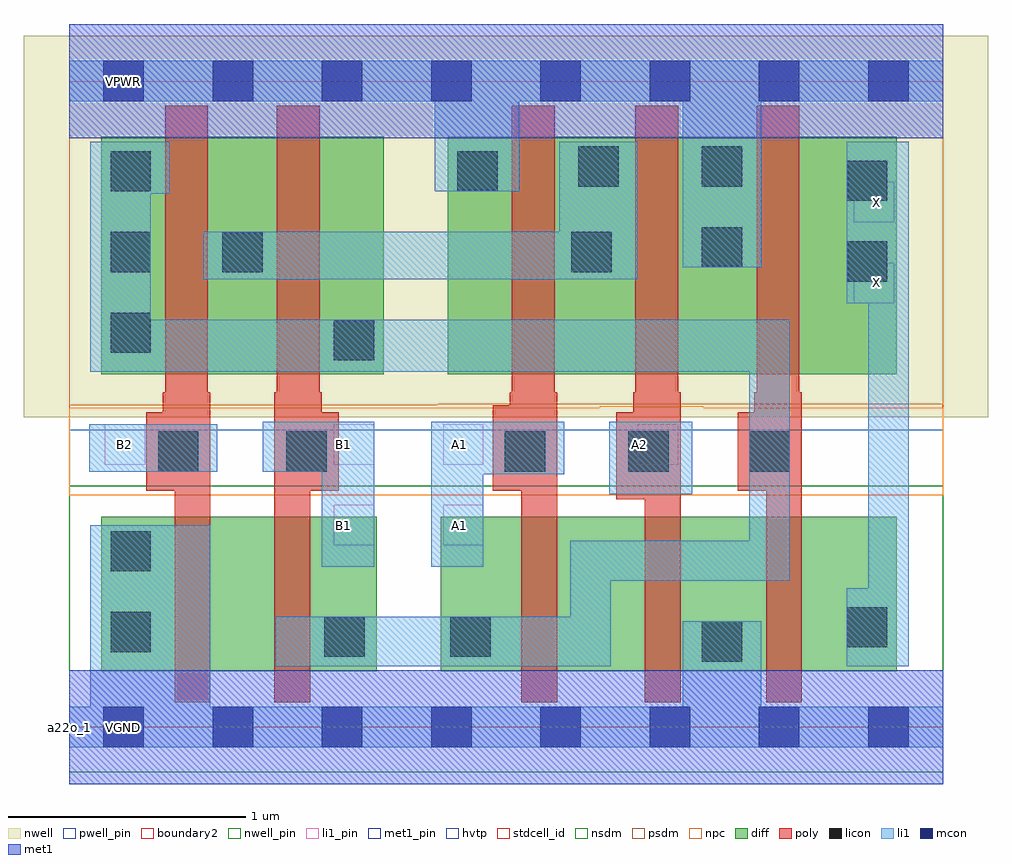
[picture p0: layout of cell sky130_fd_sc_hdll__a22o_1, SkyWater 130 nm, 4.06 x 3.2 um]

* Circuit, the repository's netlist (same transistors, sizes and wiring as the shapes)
* Copyright 2020 The SkyWater PDK Authors
*
* Licensed under the Apache License, Version 2.0 (the "License");
* you may not use this file except in compliance with the License.
* You may obtain a copy of the License at
*
*     https://www.apache.org/licenses/LICENSE-2.0
*
* Unless required by applicable law or agreed to in writing, software
* distributed under the License is distributed on an "AS IS" BASIS,
* WITHOUT WARRANTIES OR CONDITIONS OF ANY KIND, either express or implied.
* See the License for the specific language governing permissions and
* limitations under the License.
*
* SPDX-License-Identifier: Apache-2.0

.SUBCKT sky130_fd_sc_hdll__a22o_1 A1 A2 B1 B2 VGND VNB VPB VPWR X
*.PININFO A1:I A2:I B1:I B2:I VGND:I VNB:I VPB:I VPWR:I X:O
MMPA0 pndA A1 VPWR VPB sky130_fd_pr__pfet_01v8_hvt m=1 w=1.0U l=0.18U mult=1 sa=0.265
+ sb=0.265 sd=0.28 area=0.063 perim=1.14
MMPA1 pndA A2 VPWR VPB sky130_fd_pr__pfet_01v8_hvt m=1 w=1.0U l=0.18U mult=1 sa=0.265
+ sb=0.265 sd=0.28 area=0.063 perim=1.14
MMPB0 y B1 pndA VPB sky130_fd_pr__pfet_01v8_hvt m=1 w=1.0U l=0.18U mult=1 sa=0.265
+ sb=0.265 sd=0.28 area=0.063 perim=1.14
MMPB1 y B2 pndA VPB sky130_fd_pr__pfet_01v8_hvt m=1 w=1.0U l=0.18U mult=1 sa=0.265
+ sb=0.265 sd=0.28 area=0.063 perim=1.14
MMIPX X y VPWR VPB sky130_fd_pr__pfet_01v8_hvt m=1 w=1.0U l=0.18U mult=1 sa=0.265
+ sb=0.265 sd=0.28 area=0.063 perim=1.14
MMNA0 y A1 sndA1 VNB sky130_fd_pr__nfet_01v8 m=1 w=0.65U l=0.15U mult=1 sa=0.265
+ sb=0.265 sd=0.28 area=0.063 perim=1.14
MMNA1 sndA1 A2 VGND VNB sky130_fd_pr__nfet_01v8 m=1 w=0.65U l=0.15U mult=1 sa=0.265
+ sb=0.265 sd=0.28 area=0.063 perim=1.14
MMNB0 y B1 sndB1 VNB sky130_fd_pr__nfet_01v8 m=1 w=0.65U l=0.15U mult=1 sa=0.265
+ sb=0.265 sd=0.28 area=0.063 perim=1.14
MMNB1 sndB1 B2 VGND VNB sky130_fd_pr__nfet_01v8 m=1 w=0.65U l=0.15U mult=1 sa=0.265
+ sb=0.265 sd=0.28 area=0.063 perim=1.14
MMINX X y VGND VNB sky130_fd_pr__nfet_01v8 m=1 w=0.65U l=0.15U mult=1 sa=0.265
+ sb=0.265 sd=0.28 area=0.063 perim=1.14
.ENDS sky130_fd_sc_hdll__a22o_1

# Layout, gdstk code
import gdstk
lib = gdstk.Library(unit=1e-6, precision=1e-09)
def R(c, l, rs):  # rectangles x0, y0, x1, y1
    for r in rs: c.add(gdstk.rectangle(r[:2], r[2:], *l))
def A(c, l, x, y, w, h, nx, ny, dx, dy):  # array of equal rectangles
    R(c, l, [(x+i*dx, y+j*dy, x+i*dx+w, y+j*dy+h) for i in range(nx) for j in range(ny)])
def P(c, l, *ps):  # polygons
    for p in ps: c.add(gdstk.Polygon(p, *l))
nwell_pin = (64, 16)
nwell = (64, 20)
diff = (65, 20)
poly = (66, 20)
licon = (66, 44)
li1_pin = (67, 16)
li1 = (67, 20)
mcon = (67, 44)
met1_pin = (68, 16)
met1 = (68, 20)
hvtp = (78, 44)
stdcell_id = (81, 4)
nsdm = (93, 44)
psdm = (94, 20)
npc = (95, 20)
pwell_pin = (122, 16)
boundary2 = (236, 0)

sky130_fd_sc_hdll__a22o_ = lib.new_cell('sky130_fd_sc_hdll__a22o_1')
R(sky130_fd_sc_hdll__a22o_, nwell_pin, [(0.145,2.635,0.315,2.805)])
R(sky130_fd_sc_hdll__a22o_, nwell, [(-0.19,1.305,3.87,2.91)])
R(sky130_fd_sc_hdll__a22o_, diff, [(0.135,0.235,1.295,0.885), (1.565,0.235,3.485,0.885), (0.135,1.485,1.325,2.485), (1.595,1.485,3.485,2.485)])
P(sky130_fd_sc_hdll__a22o_, poly, [(0.595,1.41),(0.585,1.41),(0.585,2.615),(0.405,2.615),(0.405,1.41),(0.395,1.41),(0.395,1.325),(0.325,1.325),(0.325,0.995),(0.445,0.995),(0.445,0.105),(0.595,0.105)],
  [(1.135,1.325),(1.065,1.325),(1.065,1.41),(1.055,1.41),(1.055,2.615),(0.875,2.615),(0.875,1.41),(0.865,1.41),(0.865,0.105),(1.015,0.105),(1.015,0.995),(1.135,0.995)],
  [(2.055,1.41),(2.045,1.41),(2.045,2.615),(1.865,2.615),(1.865,1.41),(1.855,1.41),(1.855,1.355),(1.785,1.355),(1.785,0.995),(1.905,0.995),(1.905,0.105),(2.055,0.105)],
  [(2.575,1.41),(2.565,1.41),(2.565,2.615),(2.385,2.615),(2.385,1.41),(2.375,1.41),(2.375,1.325),(2.305,1.325),(2.305,0.96),(2.425,0.96),(2.425,0.105),(2.575,0.105)],
  [(3.085,1.41),(3.075,1.41),(3.075,2.615),(2.895,2.615),(2.895,1.41),(2.885,1.41),(2.885,1.325),(2.815,1.325),(2.815,0.995),(2.935,0.995),(2.935,0.105),(3.085,0.105)])
A(sky130_fd_sc_hdll__a22o_, licon, 0.175, 1.575, 0.17, 0.17, 1, 3, 0, 0.34)
R(sky130_fd_sc_hdll__a22o_, licon, [(2.665,0.275,2.835,0.445), (1.075,0.295,1.245,0.465), (1.605,0.295,1.775,0.465), (0.175,0.315,0.345,0.485), (3.275,0.335,3.445,0.505), (0.175,0.655,0.345,0.825), (0.375,1.075,0.545,1.245), (0.915,1.075,1.085,1.245), (1.835,1.075,2.005,1.245), (2.355,1.075,2.525,1.245), (2.865,1.075,3.035,1.245), (1.115,1.545,1.285,1.715), (3.275,1.875,3.445,2.045), (0.645,1.915,0.815,2.085), (2.115,1.915,2.285,2.085), (2.665,1.935,2.835,2.105), (3.275,2.215,3.445,2.385), (1.635,2.255,1.805,2.425), (2.145,2.275,2.315,2.445), (2.665,2.275,2.835,2.445)])
R(sky130_fd_sc_hdll__a22o_, li1_pin, [(1.115,0.765,1.285,0.935), (1.575,0.765,1.745,0.935), (0.15,1.105,0.32,1.275), (1.115,1.105,1.285,1.275), (1.575,1.105,1.745,1.275), (2.395,1.105,2.565,1.275), (3.305,1.785,3.475,1.955), (3.305,2.125,3.475,2.295)])
R(sky130_fd_sc_hdll__a22o_, li1, [(2.275,0.98,2.625,1.285), (0.085,1.075,0.625,1.275)])
P(sky130_fd_sc_hdll__a22o_, li1, [(1.285,1.285),(0.815,1.285),(0.815,1.075),(1.065,1.075),(1.065,0.675),(1.285,0.675)],
  [(2.085,1.285),(1.525,1.285),(1.525,0.675),(1.745,0.675),(1.745,1.065),(2.085,1.065)],
  [(2.395,2.465),(2.065,2.465),(2.065,2.085),(0.565,2.085),(0.565,1.885),(2.395,1.885)],
  [(3.035,1.715),(0.345,1.715),(0.345,2.245),(0.425,2.245),(0.425,2.465),(0.09,2.465),(0.09,1.495),(2.865,1.495),(2.865,0.785),(2.11,0.785),(2.11,0.465),(0.87,0.465),(0.87,0.255),(2.28,0.255),(2.28,0.615),(3.035,0.615)],
  [(3.535,2.465),(3.275,2.465),(3.275,1.785),(3.365,1.785),(3.365,0.585),(3.275,0.585),(3.275,0.255),(3.535,0.255)],
  [(3.68,2.805),(0,2.805),(0,2.635),(1.54,2.635),(1.54,2.255),(1.895,2.255),(1.895,2.635),(2.585,2.635),(2.585,1.935),(2.915,1.935),(2.915,2.635),(3.68,2.635)],
  [(3.68,0.085),(2.915,0.085),(2.915,0.445),(2.585,0.445),(2.585,0.085),(0.595,0.085),(0.595,0.85),(0.09,0.85),(0.09,0.085),(0,0.085),(0,-0.085),(3.68,-0.085)])
A(sky130_fd_sc_hdll__a22o_, mcon, 0.145, -0.085, 0.17, 0.17, 8, 2, 0.46, 2.72)
R(sky130_fd_sc_hdll__a22o_, met1_pin, [(0.145,-0.085,0.315,0.085), (0.145,2.635,0.315,2.805)])
R(sky130_fd_sc_hdll__a22o_, met1, [(0,-0.24,3.68,0.24), (0,2.48,3.68,2.96)])
R(sky130_fd_sc_hdll__a22o_, hvtp, [(0,1.25,3.68,2.72)])
R(sky130_fd_sc_hdll__a22o_, stdcell_id, [(0,0,3.68,2.72)])
R(sky130_fd_sc_hdll__a22o_, nsdm, [(0,-0.19,3.68,1.015)])
P(sky130_fd_sc_hdll__a22o_, psdm, [(3.68,2.91),(0,2.91),(0,1.355),(1.55,1.355),(1.55,1.36),(3.68,1.36)])
P(sky130_fd_sc_hdll__a22o_, npc, [(3.68,1.345),(2.67,1.345),(2.67,1.35),(2.235,1.35),(2.235,1.345),(0,1.345),(0,0.975),(3.68,0.975)])
R(sky130_fd_sc_hdll__a22o_, pwell_pin, [(0.145,-0.085,0.315,0.085)])
R(sky130_fd_sc_hdll__a22o_, boundary2, [(0,0,3.68,2.72)])
sky130_fd_sc_hdll__a22o_.add(gdstk.Label('A1', (1.645,1.19), layer=67, texttype=5))
sky130_fd_sc_hdll__a22o_.add(gdstk.Label('A2', (2.4,1.19), layer=67, texttype=5))
sky130_fd_sc_hdll__a22o_.add(gdstk.Label('X', (3.4,2.21), layer=67, texttype=5))
sky130_fd_sc_hdll__a22o_.add(gdstk.Label('B2', (0.235,1.19), layer=67, texttype=5))
sky130_fd_sc_hdll__a22o_.add(gdstk.Label('B1', (1.155,1.19), layer=67, texttype=5))
sky130_fd_sc_hdll__a22o_.add(gdstk.Label('A1', (1.645,0.85), layer=67, texttype=5))
sky130_fd_sc_hdll__a22o_.add(gdstk.Label('B1', (1.155,0.85), layer=67, texttype=5))
sky130_fd_sc_hdll__a22o_.add(gdstk.Label('X', (3.4,1.87), layer=67, texttype=5))
sky130_fd_sc_hdll__a22o_.add(gdstk.Label('VPWR', (0.23,2.72), layer=68, texttype=5))
sky130_fd_sc_hdll__a22o_.add(gdstk.Label('VGND', (0.23,0), layer=68, texttype=5))
sky130_fd_sc_hdll__a22o_.add(gdstk.Label('VPB', (0.23,2.72), layer=64, texttype=5))
sky130_fd_sc_hdll__a22o_.add(gdstk.Label('VNB', (0.23,0), layer=64, texttype=59))
sky130_fd_sc_hdll__a22o_.add(gdstk.Label('a22o_1', (0,0), layer=83, texttype=44))

lib.write_gds('sky130_fd_sc_hdll__a22o_1.gds')
